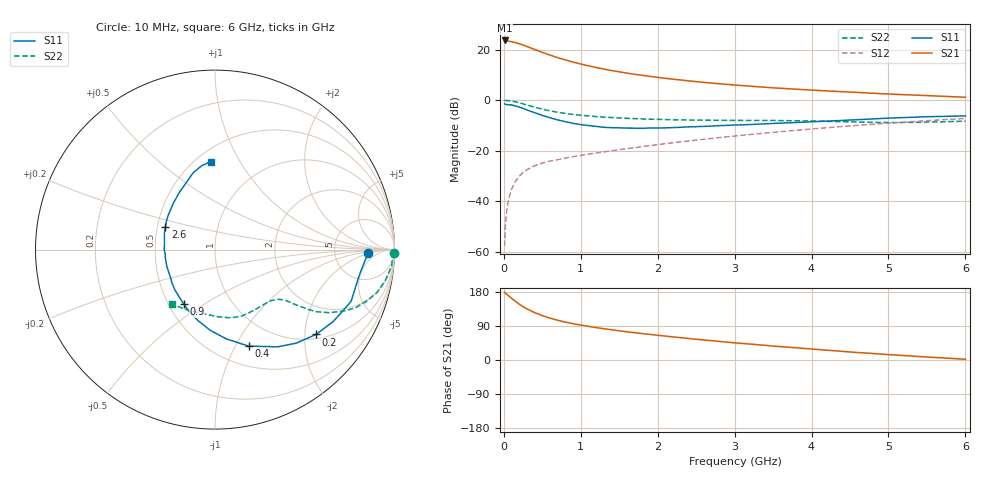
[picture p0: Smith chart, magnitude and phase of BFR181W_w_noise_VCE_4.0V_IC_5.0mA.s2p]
! (c) 2017  Infineon Technologies AG, Munich
! Infineon Technologies  Discrete & RF Semiconductors
! BFR181W
! VCE =  4.0 V,  IC =  5.0 mA
! Common Emitter S-Parameters:  Jan 2017
# GHz  S  MA  R  50
!  f  S11  S21  S12  S22
! GHz  MAG  ANG  MAG  ANG  MAG  ANG  MAG  ANG
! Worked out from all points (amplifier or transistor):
!   77 points, 10 MHz to 6 GHz, reference 50 ohm
!   highest |S21| = 23.7 dB at 10 MHz (marker M1)
!   |S21| within 3 dB of that: start of sweep to 352 MHz
!   unconditionally stable (mu >= 1): 1.306 GHz to 3.397 GHz
!   at 130 MHz: K = 0.16, MSG = 28.1 dB, |S12| = -33.3 dB
!   at 2.2 GHz: K = 1.08, MAG = 10.8 dB, |S12| = -16.8 dB
!   at 6 GHz: K = 0.85, MSG = 4.2 dB, |S12| = -7.2 dB
!   lowest NFmin = 0.97 dB at 450 MHz
!   S11 on the Smith chart (normalised r, x): 10 MHz: 12, -2; 200 MHz: 1.11, -2.28; 400 MHz: 0.71, -1.13; 900 MHz: 0.60, -0.41; 2.6 GHz: 0.55, +0.16; 6 GHz: 0.59, +0.76
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0.01  0.8527 -1.3  15.24 179.0  0.0013 93.0  0.9975 -1.0
0.02  0.8323 -5.5  15.03 176.4  0.0032 103.1  0.9902 -1.9
0.04  0.8207 -8.7  14.92 173.1  0.0069 85.2  0.9885 -4.2
0.1  0.8112 -20.9  14.42 162.8  0.0172 79.6  0.9635 -10.4
0.15  0.7712 -31.2  13.85 155.1  0.0248 74.4  0.9321 -15.0
0.2  0.7351 -40.0  13.1 147.4  0.0312 71.4  0.8912 -18.9
0.25  0.6904 -49.0  12.39 140.7  0.0375 66.4  0.8492 -22.3
0.3  0.645 -57.1  11.57 134.8  0.0423 63.1  0.8054 -25.0
0.4  0.5698 -70.7  10.14 124.9  0.0505 59.7  0.7296 -28.8
0.5  0.5023 -82.6  8.852 117.1  0.0571 57.2  0.6668 -31.3
0.6  0.4511 -93.2  7.829 110.5  0.0626 55.6  0.6178 -32.7
0.7  0.4086 -102.9  6.962 104.9  0.0667 55.9  0.5789 -33.5
0.9  0.3499 -119.8  5.684 95.8  0.0768 55.5  0.5245 -34.8
1.1  0.3164 -135.1  4.797 88.8  0.0858 57.0  0.4895 -35.6
1.3  0.2918 -148.2  4.132 82.5  0.0949 57.8  0.4648 -36.9
1.6  0.2815 -165.5  3.441 74.5  0.1106 59.3  0.4407 -39.3
2.1  0.2847 171.9  2.72 63.1  0.1385 60.9  0.415 -45.5
2.6  0.3041 155.1  2.257 52.8  0.1694 61.0  0.4037 -53.4
3.1  0.3269 141.3  1.952 43.7  0.2031 59.8  0.3992 -61.5
4.1  0.3808 120.1  1.56 27.5  0.2783 55.2  0.3862 -79.0
5.1  0.449 104.7  1.309 13.0  0.3606 47.7  0.3626 -104.0
6  0.4903 92.9  1.148 2.0  0.4368 39.5  0.3871 -128.4
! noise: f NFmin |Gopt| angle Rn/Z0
0.45  0.97  0.33  16  0.23
0.9  1.03  0.3  30  0.23
1.9  1.44  0.15  80  0.2
2.4  1.59  0.13  94  0.22
